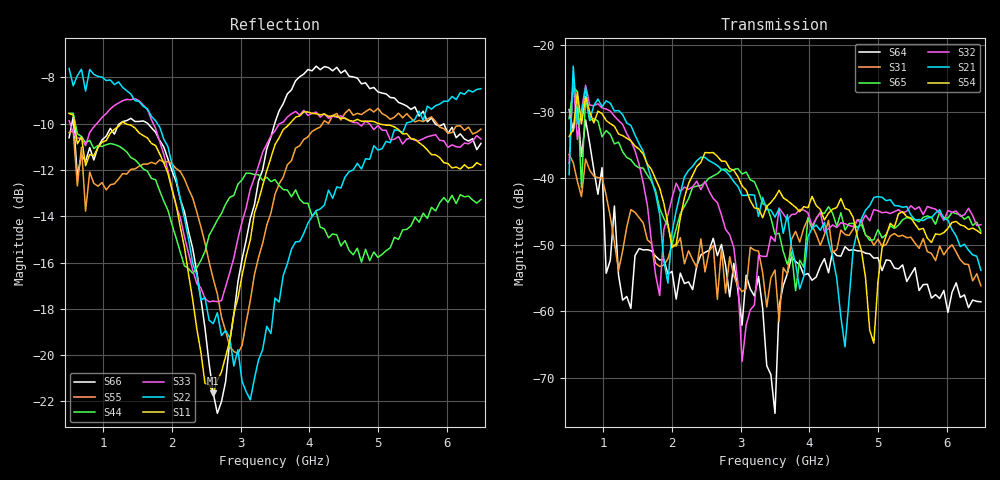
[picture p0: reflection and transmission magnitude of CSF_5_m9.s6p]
!Keysight Technologies,M9804A,MY58100912,A.14.10.03
!Date: Thursday, April 27, 2023 10:28:33
!Correction: S11(C  6-Port  )
!S12(C  6-Port  )
!S13(C  6-Port  )
!S14(C  6-Port  )
!S15(C  6-Port  )
!S16(C  6-Port  )
!S21(C  6-Port  )
!S22(C  6-Port  )
!S23(C  6-Port  )
!S24(C  6-Port  )
!S25(C  6-Port  )
!S26(C  6-Port  )
!S31(C  6-Port  )
!S32(C  6-Port  )
!S33(C  6-Port  )
!S34(C  6-Port  )
!S35(C  6-Port  )
!S36(C  6-Port  )
!S41(C  6-Port  )
!S42(C  6-Port  )
!S43(C  6-Port  )
!S44(C  6-Port  )
!S45(C  6-Port  )
!S46(C  6-Port  )
!S51(C  6-Port  )
!S52(C  6-Port  )
!S53(C  6-Port  )
!S54(C  6-Port  )
!S55(C  6-Port  )
!S56(C  6-Port  )
!S61(C  6-Port  )
!S62(C  6-Port  )
!S63(C  6-Port  )
!S64(C  6-Port  )
!S65(C  6-Port  )
!S66(C  6-Port  )
!S6P File: Measurement: :
# Hz S  RI  R 50
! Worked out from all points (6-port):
!   101 points, 500 MHz to 6.5 GHz, reference 50 ohm
!   strongest paths, dB at 500 MHz, 2 GHz, 3.5 GHz, 5 GHz, 6.5 GHz:
!     S54: -33.7, -50.4, -42.9, -55.6, -48.3
!     S21: -39.4, -48.1, -45.8, -42.7, -53.9
!     S32: -37.8, -43.0, -49.5, -44.9, -47.0
!     S65: -31.0, -49.9, -48.4, -47.7, -48.0
!     S31: -36.4, -50.0, -53.8, -49.1, -56.2
!     S64: -29.7, -54.0, -75.4, -52.0, -58.6
!   lowest |S11| = -21.7 dB at 2.6 GHz (marker M1), VSWR 1.18, Z = 42.6 + j2.05 ohm
!   |S11| at or under -10 dB: 577.9 MHz to 1.257 GHz (679.1 MHz wide, 74 % of centre); 1.324 GHz to 3.714 GHz (2.39 GHz wide, 94.9 % of centre); 5.012 GHz to end of sweep
